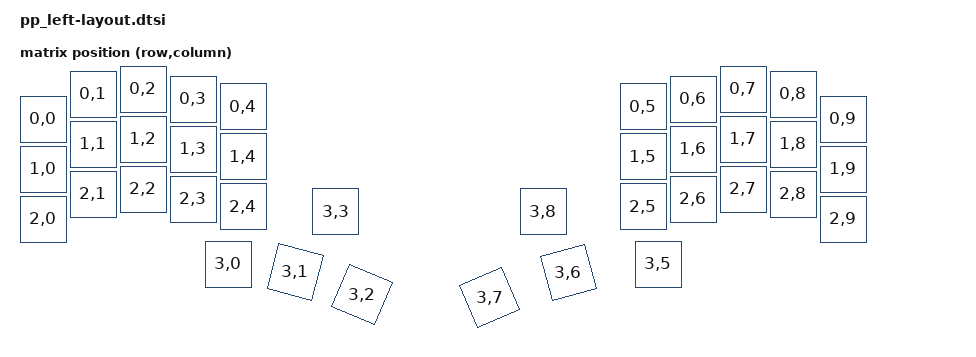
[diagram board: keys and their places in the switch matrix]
#include <physical_layouts.dtsi>
#include <dt-bindings/zmk/matrix_transform.h>

/ {
    default_transform: keymap_transform0 {
        compatible = "zmk,matrix-transform";
        columns = <10>;
        rows = <4>;
        map = <
            RC(0,0) RC(0,1) RC(0,2) RC(0,3) RC(0,4) RC(0,5) RC(0,6) RC(0,7) RC(0,8) RC(0,9)
            RC(1,0) RC(1,1) RC(1,2) RC(1,3) RC(1,4) RC(1,5) RC(1,6) RC(1,7) RC(1,8) RC(1,9)
            RC(2,0) RC(2,1) RC(2,2) RC(2,3) RC(2,4) RC(2,5) RC(2,6) RC(2,7) RC(2,8) RC(2,9)
            RC(3,0) RC(3,1) RC(3,2) RC(3,3) RC(3,5) RC(3,6) RC(3,7) RC(3,8)
        >;
    };

    physical_layout0: physical_layout_0 {
        compatible = "zmk,physical-layout";
        display-name = "Default";

        kscan = <&kscan0>;
        transform = <&default_transform>;

        keys  //                     w   h    x    y     rot    rx    ry
            = <&key_physical_attrs 100 100    0   60       0     0     0>
            , <&key_physical_attrs 100 100  100   10       0     0     0>
            , <&key_physical_attrs 100 100  200    0       0     0     0>
            , <&key_physical_attrs 100 100  300   20       0     0     0>
            , <&key_physical_attrs 100 100  400   35       0     0     0>
            , <&key_physical_attrs 100 100 1200   35       0     0     0>
            , <&key_physical_attrs 100 100 1300   20       0     0     0>
            , <&key_physical_attrs 100 100 1400    0       0     0     0>
            , <&key_physical_attrs 100 100 1500   10       0     0     0>
            , <&key_physical_attrs 100 100 1600   60       0     0     0>
            , <&key_physical_attrs 100 100    0  160       0     0     0>
            , <&key_physical_attrs 100 100  100  110       0     0     0>
            , <&key_physical_attrs 100 100  200  100       0     0     0>
            , <&key_physical_attrs 100 100  300  120       0     0     0>
            , <&key_physical_attrs 100 100  400  135       0     0     0>
            , <&key_physical_attrs 100 100 1200  135       0     0     0>
            , <&key_physical_attrs 100 100 1300  120       0     0     0>
            , <&key_physical_attrs 100 100 1400  100       0     0     0>
            , <&key_physical_attrs 100 100 1500  110       0     0     0>
            , <&key_physical_attrs 100 100 1600  160       0     0     0>
            , <&key_physical_attrs 100 100    0  260       0     0     0>
            , <&key_physical_attrs 100 100  100  210       0     0     0>
            , <&key_physical_attrs 100 100  200  200       0     0     0>
            , <&key_physical_attrs 100 100  300  220       0     0     0>
            , <&key_physical_attrs 100 100  400  235       0     0     0>
            , <&key_physical_attrs 100 100 1200  235       0     0     0>
            , <&key_physical_attrs 100 100 1300  220       0     0     0>
            , <&key_physical_attrs 100 100 1400  200       0     0     0>
            , <&key_physical_attrs 100 100 1500  210       0     0     0>
            , <&key_physical_attrs 100 100 1600  260       0     0     0>
            , <&key_physical_attrs 100 100  370  350       0     0     0>
            , <&key_physical_attrs 100 100  490  335    1500   430   455>
            , <&key_physical_attrs 100 100  620  310    2300   430   455>
            , <&key_physical_attrs 100 100  585  245       0     0     0>
            , <&key_physical_attrs 100 100 1230  350       0     0     0>
            , <&key_physical_attrs 100 100 1030  600 (-1500)   205   455>
            , <&key_physical_attrs 100 100  830  705 (-2300)   205   455>
            , <&key_physical_attrs 100 100 1000  245       0     0     0>
            ;
    };

    chosen {
        zmk,physical-layout = &physical_layout0;
    };
};
